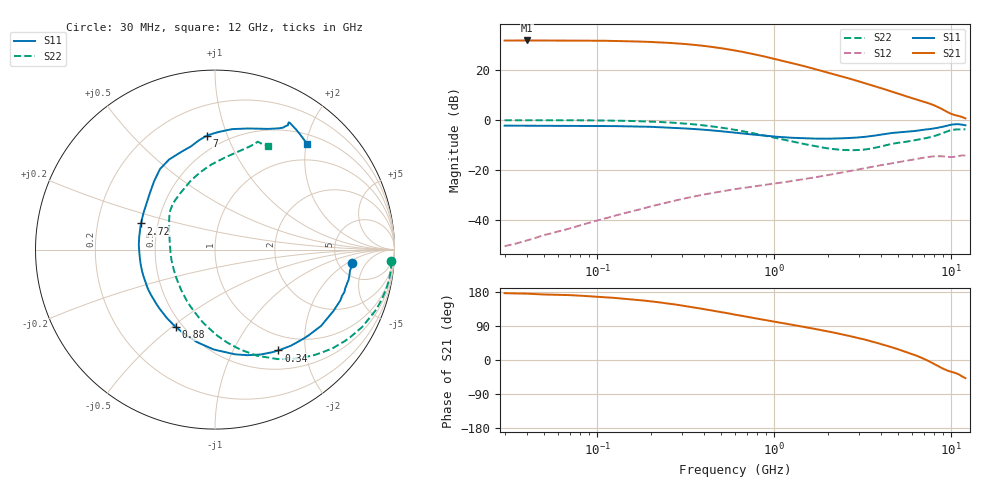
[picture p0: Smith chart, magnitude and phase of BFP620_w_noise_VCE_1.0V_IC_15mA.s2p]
! Infineon Technologies  Discrete & RF Semiconductors
! BFP620
! VCE =  1.0 V,  IC =  15 mA
! Common Emitter S-Parameters:  Nov 2015
# GHz  S  MA  R  50
!  f  S11  S21  S12  S22
! GHz  MAG  ANG  MAG  ANG  MAG  ANG  MAG  ANG
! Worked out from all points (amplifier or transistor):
!   239 points, 30 MHz to 12 GHz, reference 50 ohm
!   highest |S21| = 31.7 dB at 40 MHz (marker M1)
!   |S21| within 3 dB of that: start of sweep to 490 MHz
!   unconditionally stable (mu >= 1): 3.399 GHz to end of sweep
!   at 300 MHz: K = 0.21, MSG = 31.0 dB, |S12| = -31.6 dB
!   at 1.88 GHz: K = 0.84, MSG = 20.9 dB, |S12| = -22.4 dB
!   at 12 GHz: K = 1.11, MAG = 5.4 dB, |S12| = -14.2 dB
!   lowest NFmin = 0.85 dB at 450 MHz
!   S11 on the Smith chart (normalised r, x): 30 MHz: 6.77, -2.39; 340 MHz: 0.76, -1.53; 880 MHz: 0.46, -0.52; 2.72 GHz: 0.40, +0.14; 7 GHz: 0.40, +0.85; 12 GHz: 0.67, +2.01
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0.03  0.7681 -5.4  38.47 176.3  0.003 89.8  0.9849 -3.8
0.04  0.7655 -7.4  38.66 175.1  0.0039 87.0  0.9859 -5.2
0.05  0.7614 -8.8  38.56 172.9  0.005 87.0  0.9863 -6.6
0.07  0.7628 -12.8  38.59 171.2  0.0068 84.0  0.9841 -9.6
0.085  0.7582 -15.6  38.31 169.0  0.0083 82.9  0.9808 -11.7
0.11  0.7529 -20.1  38.11 165.5  0.0107 80.8  0.9728 -15.3
0.15  0.7438 -27.2  37.29 160.8  0.0143 77.5  0.9557 -20.9
0.2  0.7282 -35.6  36.12 154.9  0.0186 73.8  0.9271 -27.6
0.24  0.7082 -42.2  34.99 150.3  0.0218 70.6  0.8994 -32.6
0.34  0.6637 -57.8  32.01 139.8  0.0288 64.4  0.8242 -44.3
0.45  0.6155 -72.9  28.57 130.1  0.0349 59.1  0.7394 -55.7
0.6  0.5567 -90.7  24.38 119.6  0.0414 53.8  0.6346 -68.6
0.7  0.5255 -100.9  21.95 113.9  0.0448 51.3  0.5737 -75.9
0.88  0.4836 -116.6  18.47 105.7  0.0501 48.4  0.4871 -87.3
1.18  0.445 -137.2  14.43 95.2  0.0581 45.5  0.3891 -103.3
1.64  0.4244 -161.2  10.72 83.3  0.0698 42.6  0.3056 -125.2
2  0.4216 -176.4  8.865 75.4  0.0786 40.2  0.2702 -141.8
2.72  0.437 160.5  6.527 62.3  0.0963 35.2  0.2484 -171.4
4.5  0.544 124.2  3.775 34.9  0.1339 19.8  0.3275 140.6
7  0.6366 94.1  2.304 3.0  0.1768 -2.9  0.4241 104.4
9  0.7338 66.4  1.598 -23.2  0.1868 -24.9  0.5515 78.0
12  0.7811 49.0  1.072 -47.9  0.1941 -44.5  0.6505 63.0
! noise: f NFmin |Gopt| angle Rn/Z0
0.45  0.85  0.11  -3  0.11
0.9  0.85  0.07  6  0.1
1.9  0.86  0.04  18  0.1
2.4  0.9  0.06  -137  0.1
3.5  0.93  0.11  -97  0.13
5.5  1.22  0.13  -90  0.15
10  1.67  0.6  -49  0.75
